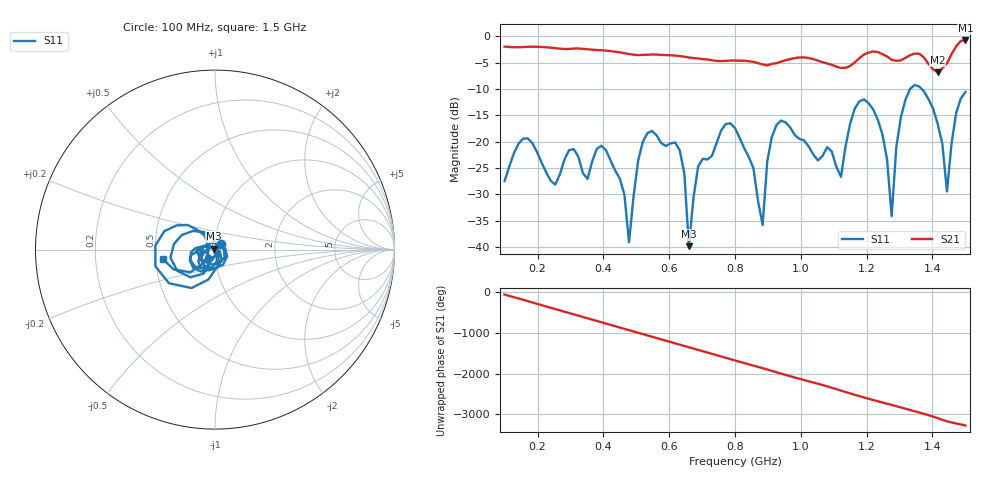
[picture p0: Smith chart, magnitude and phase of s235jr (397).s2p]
! NanoVNA-App
! Date: 2025-09-25 15:07:15
! Start: 100MHz Stop: 1,5GHz Points: 101
! S-Parameter data: F S11 S21 S12 S22
# Hz S RI R 50
!  Frequency  S11_Real  S11_Imag  S21_Real  S21_Imag  S12_Real  S12_Imag  S22_Real  S22_Imag
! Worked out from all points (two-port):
!   101 points, 100 MHz to 1.5 GHz, reference 50 ohm
!   highest |S21| = -0.80 dB at 1.5 GHz (marker M1); lowest = -6.9 dB at 1.416 GHz (marker M2)
!   |S21| within 3 dB of the highest: start of sweep to 637.6 MHz; 1.185 GHz to 1.261 GHz (75.74 MHz wide, 6.19 % of centre) (the widest 2 of 4)
!   lowest |S11| = -39.8 dB at 660 MHz (marker M3), VSWR 1.02, Z = 49.2 + j0.588 ohm
!   |S11| at or under -10 dB: start of sweep to 1.332 GHz; 1.367 GHz to end of sweep
!   S12 and S22 are empty: the file has one direction only
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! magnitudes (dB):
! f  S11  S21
! 100 MHz  -27.5  -2.0
! 156 MHz  -19.4  -2.1
! 338 MHz  -26.0  -2.4
! 408 MHz  -21.6  -2.7
! 478 MHz  -39.1  -3.4
! 520 MHz  -20.0  -3.5
! 576 MHz  -20.3  -3.5
! 632 MHz  -21.6  -3.7
! 660 MHz  -39.8  -4.0
! 688 MHz  -24.7  -4.2
! 800 MHz  -17.4  -4.6
! 884 MHz  -35.8  -5.3
! 926 MHz  -16.9  -5.1
! 1.038 GHz  -22.4  -4.3
! 1.122 GHz  -26.7  -6.0
! 1.192 GHz  -12.0  -3.5
! 1.248 GHz  -18.7  -3.4
! 1.276 GHz  -34.1  -4.5
! 1.332 GHz  -10.0  -3.6
! 1.416 GHz  -16.7  -6.9
! 1.444 GHz  -29.4  -5.2
! 1.5 GHz  -10.6  -0.8
